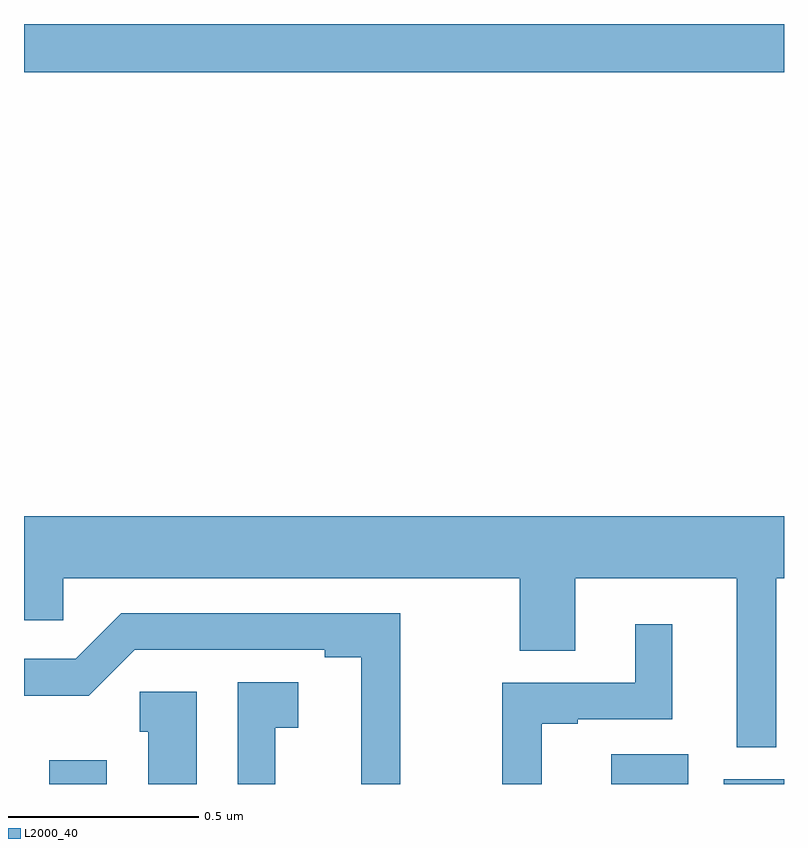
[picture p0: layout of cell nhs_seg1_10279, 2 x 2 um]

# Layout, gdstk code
import gdstk
lib = gdstk.Library(unit=1e-6, precision=1e-09)
def R(c, l, rs):  # rectangles x0, y0, x1, y1
    for r in rs: c.add(gdstk.rectangle(r[:2], r[2:], *l))
def P(c, l, *ps):  # polygons
    for p in ps: c.add(gdstk.Polygon(p, *l))
L2000_40 = (2000, 40)

nhs_seg1_10279 = lib.new_cell('nhs_seg1_10279')
R(nhs_seg1_10279, L2000_40, [(239.066,543.199,239.218,543.262), (240.545,543.199,240.748,543.277), (240.842,543.199,241,543.211), (239,545.072,241,545.199)])
P(nhs_seg1_10279, L2000_40, [(240.979,543.74),(241,543.74),(241,543.904),(239,543.904),(239,543.63),(239.103,543.63),(239.103,543.74),(240.304,543.74),(240.304,543.55),(240.451,543.55),(240.451,543.74),(240.875,543.74),(240.875,543.296),(240.979,543.296)],
  [(239.99,543.648),(239.256,543.648),(239.136,543.528),(239,543.528),(239,543.431),(239.171,543.431),(239.292,543.552),(239.792,543.552),(239.792,543.532),(239.888,543.532),(239.888,543.249),(239.887,543.249),(239.887,543.199),(239.99,543.199)],
  [(240.362,543.357),(240.457,543.357),(240.457,543.369),(240.706,543.369),(240.706,543.619),(240.608,543.619),(240.608,543.465),(240.259,543.465),(240.259,543.199),(240.362,543.199)],
  [(239.661,543.347),(239.722,543.347),(239.722,543.467),(239.562,543.467),(239.562,543.199),(239.661,543.199)],
  [(239.455,543.442),(239.305,543.442),(239.305,543.336),(239.327,543.336),(239.327,543.199),(239.455,543.199)])

lib.write_gds('nhs_seg1_10279.gds')
